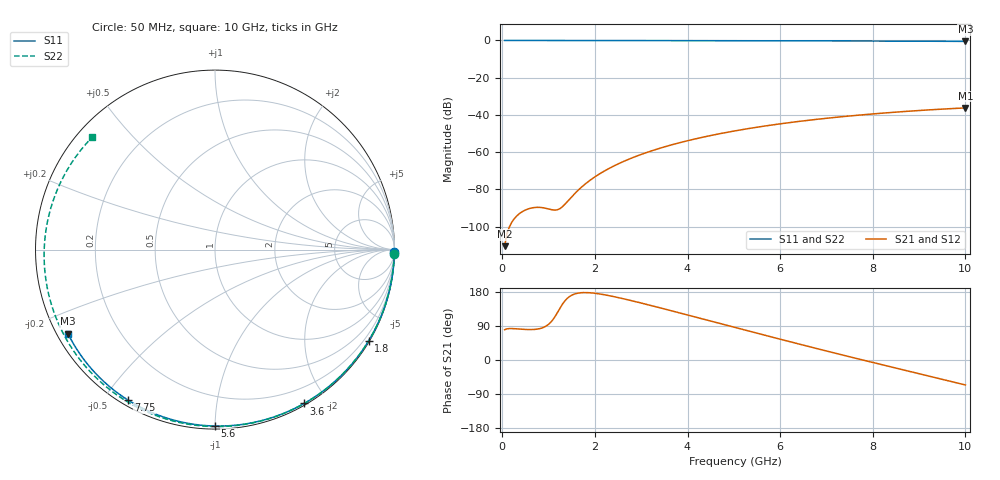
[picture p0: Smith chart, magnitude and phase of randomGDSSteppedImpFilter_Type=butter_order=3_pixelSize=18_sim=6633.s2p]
! freq	dB(S11)	phase(S11)	dB(S12)	phase(S12)
!  dB(S21)	phase(S21)	dB(S22)	phase(S22)
!S-par simulation data
#  GHz  S  DB  R 50
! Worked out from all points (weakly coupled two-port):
!   200 points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, 50 MHz to 10 GHz, reference 50 ohm
!   highest |S21| = -36.27 dB at 10 GHz (marker M1); lowest = -110.6 dB at 50 MHz (marker M2)
!   lowest |S11| = -0.5 dB at 10 GHz (marker M3), VSWR 34.38, Z = 1.56 - j13.2 ohm
!   |S11| at or under -10 dB: nowhere
!   |S22| runs from -0.7 to 0.0 dB; largest |S21 - S12| = 0
!   S11 on the Smith chart (normalised r, x): 50 MHz: open; 1.8 GHz: 0.03, -3.64; 3.6 GHz: 0.02, -1.74; 5.6 GHz: 0.02, -1.00; 7.75 GHz: 0.02, -0.58; 10 GHz: 0.03, -0.26
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0.05  -0.00 -0.8  -110.57 79.9  -110.57 79.9  -0.01 -1.3
0.8  -0.02 -13.8  -89.72 82.6  -89.72 82.6  -0.03 -19.5
1.65  -0.04 -28.2  -80.21 176.7  -80.21 176.7  -0.05 -39.9
1.75  -0.04 -29.9  -77.99 177.8  -77.99 177.8  -0.05 -42.2
1.8  -0.04 -30.7  -76.96 177.9  -76.96 177.9  -0.06 -43.4
2.1  -0.05 -35.7  -71.72 174.3  -71.72 174.3  -0.06 -50.3
2.45  -0.05 -41.5  -66.97 166.2  -66.97 166.2  -0.08 -58.4
2.9  -0.06 -48.8  -62.17 153.3  -62.17 153.3  -0.09 -68.5
3.4  -0.08 -56.8  -57.95 137.9  -57.95 137.9  -0.10 -79.5
3.6  -0.08 -59.9  -56.50 131.6  -56.50 131.6  -0.11 -83.8
4.3  -0.10 -70.7  -52.16 109.2  -52.16 109.2  -0.14 -98.7
5.05  -0.13 -81.9  -48.48 85.1  -48.48 85.1  -0.18 -114.2
5.6  -0.15 -90.0  -46.25 67.5  -46.25 67.5  -0.21 -125.3
6.15  -0.17 -97.8  -44.32 50.2  -44.32 50.2  -0.24 -136.5
6.7  -0.21 -105.5  -42.64 33.0  -42.64 33.0  -0.28 -147.6
7.25  -0.24 -113.1  -41.19 16.1  -41.19 16.1  -0.33 -159.0
7.75  -0.28 -119.9  -40.03 1.0  -40.03 1.0  -0.38 -169.5
8.35  -0.33 -128.0  -38.80 -16.9  -38.80 -16.9  -0.44 177.4
8.8  -0.37 -134.0  -37.98 -30.2  -37.98 -30.2  -0.50 167.2
9.2  -0.41 -139.4  -37.33 -42.1  -37.33 -42.1  -0.55 157.7
9.6  -0.46 -144.8  -36.76 -53.9  -36.76 -53.9  -0.60 147.9
10  -0.51 -150.3  -36.27 -65.9  -36.27 -65.9  -0.65 137.6
